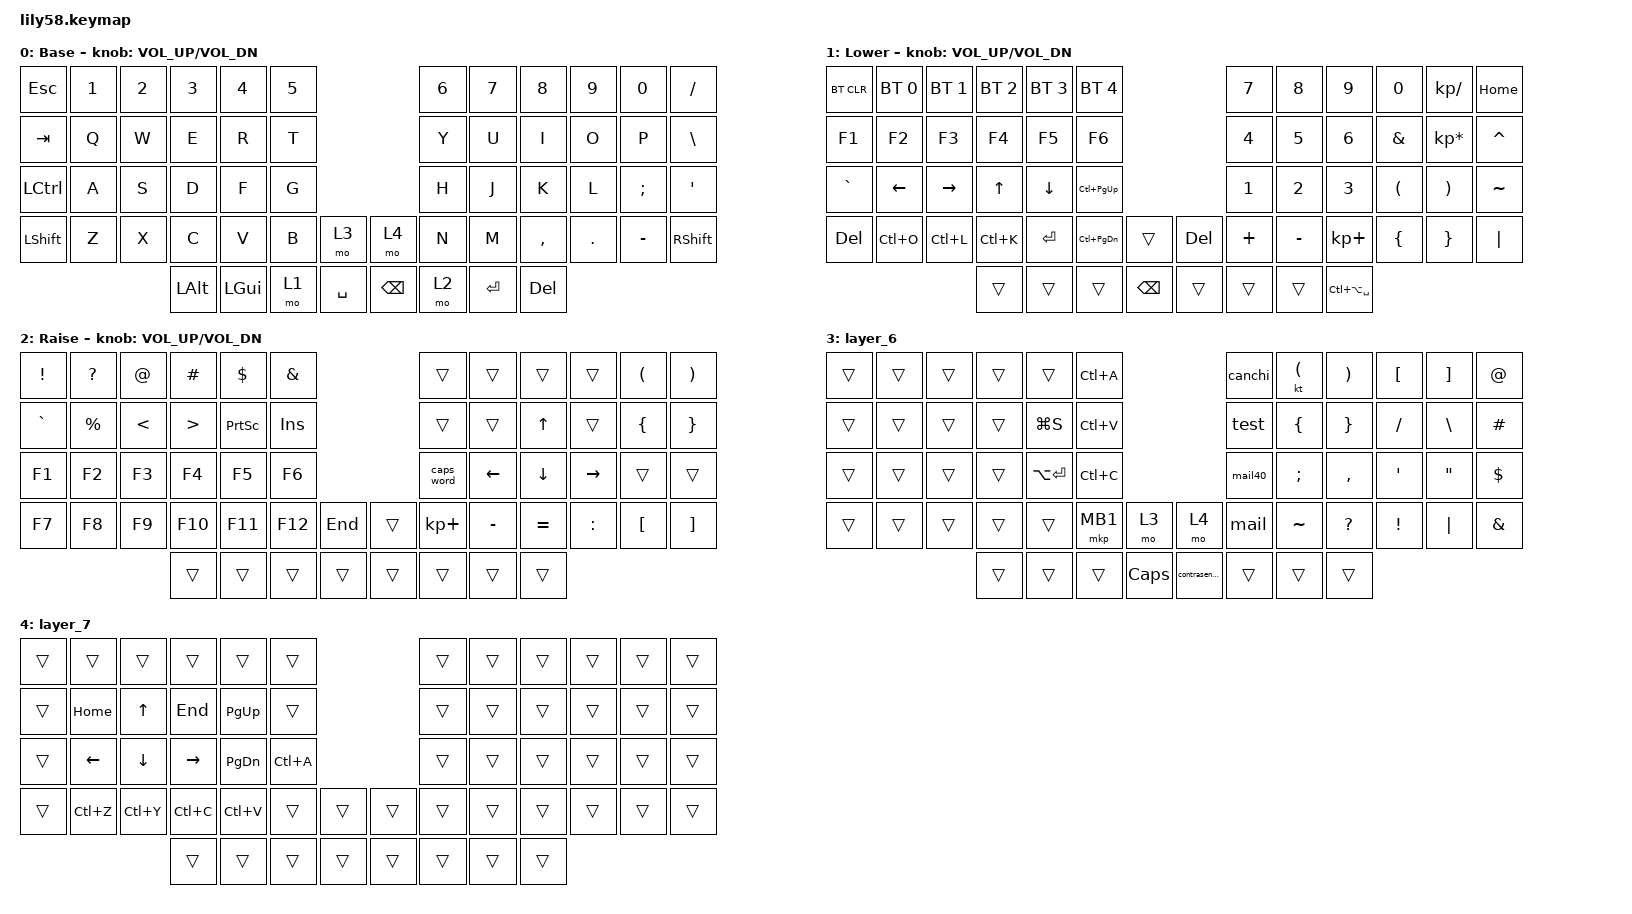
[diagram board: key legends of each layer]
/*
 * Copyright (c) 2020 The ZMK Contributors
 *
 * SPDX-License-Identifier: MIT
 */

#include <behaviors.dtsi>
#include <dt-bindings/zmk/bt.h>
#include <dt-bindings/zmk/keys.h>
#include <dt-bindings/zmk/pointing.h>

/ {
    macros {
        mail: mail {
            compatible = "zmk,behavior-macro";
            #binding-cells = <0>;
            bindings = <&kp T &kp A &kp N &kp O &kp M &kp A &kp N &kp F &kp E &kp R &kp AT &kp G &kp M &kp A &kp I &kp L &kp DOT &kp C &kp O &kp M>;
            label = "MAIL";
        };

        user: user {
            compatible = "zmk,behavior-macro";
            #binding-cells = <0>;
            bindings = <&none>;
            label = "USER";
        };

        ip_local: ip_local {
            compatible = "zmk,behavior-macro";
            #binding-cells = <0>;
            bindings = <&kp N1 &kp N9 &kp N2 &kp DOT &kp N1 &kp N6 &kp N8>;
            label = "IP_LOCAL";
        };

        npmdev: npmdev {
            compatible = "zmk,behavior-macro";
            #binding-cells = <0>;
            bindings = <&kp N &kp P &kp M &kp SPACE &kp R &kp U &kp N &kp SPACE &kp D &kp E &kp V>;
            label = "NPMDEV";
        };

        update: update {
            compatible = "zmk,behavior-macro";
            #binding-cells = <0>;
            bindings = <&kp S &kp U &kp D &kp O &kp SPACE &kp P &kp A &kp C &kp M &kp A &kp N &kp SPACE &kp MINUS &kp LS(S) &kp Y &kp U>;
            label = "UPDATE";
        };

        mail40: mail40 {
            compatible = "zmk,behavior-macro";
            #binding-cells = <0>;
            bindings = <&none &kp T &kp A &kp N &kp O &kp M &kp A &kp N &kp F &kp E &kp R &kp N4 &kp N0 &kp AT &kp G &kp M &kp A &kp I &kp L &kp DOT &kp C &kp O &kp M &kp SPACE>;
            label = "MAIL40";
        };

        canchi: canchi {
            compatible = "zmk,behavior-macro";
            #binding-cells = <0>;
            bindings = <&none &kp LS(C) &kp LS(A) &kp LS(N) &kp C &kp H &kp I &kp C &kp H &kp A &kp N3 &kp N3>;
            label = "CANCHI";
        };

        test: test {
            compatible = "zmk,behavior-macro";
            #binding-cells = <0>;
            bindings = <&none &kp T &kp E &kp S &kp T &kp AT &kp A &kp P &kp P &kp A &kp F &kp E &kp R &kp DOT &kp C &kp O &kp M>;
            label = "TEST";
        };

        contrasenatest: contrasenatest {
            compatible = "zmk,behavior-macro";
            #binding-cells = <0>;
            bindings = <&none &kp T &kp E &kp S &kp T &kp N1 &kp N2 &kp N3 &kp N4 &kp AT>;
            label = "CONTRASENATEST";
        };
    };

    combos {
        compatible = "zmk,combos";

        mayuscula {
            bindings = <&caps_word>;
            key-positions = <36 49>;
        };
    };

    keymap {
        compatible = "zmk,keymap";

        default_layer {
            // ------------------------------------------------------------------------------------------------------------
            // |  ESC  |  1  |  2  |  3   |  4   |  5   |                   |  6   |  7    |  8    |  9   |   0   |   `   |
            // |  TAB  |  Q  |  W  |  E   |  R   |  T   |                   |  Y   |  U    |  I    |  O   |   P   |   -   |
            // |  CTRL |  A  |  S  |  D   |  F   |  G   |                   |  H   |  J    |  K    |  L   |   ;   |   '   |
            // | SHIFT |  Z  |  X  |  C   |  V   |  B   |   "["  |  |  "]"  |  N   |  M    |  ,    |  .   |   /   | SHIFT |
            //                     | ALT  | GUI  | LOWER|  SPACE |  | ENTER | RAISE| BSPC  | GUI   |

            display-name = "Base";
            bindings = <
&kp ESC    &kp NUMBER_1  &kp N2  &kp N3    &kp N4    &kp N5                         &kp N6  &kp N7     &kp N8     &kp N9   &kp N0     &kp SLASH
&kp TAB    &kp Q         &kp W   &kp E     &kp R     &kp T                          &kp Y   &kp U      &kp I      &kp O    &kp P      &kp BACKSLASH
&kp LCTRL  &kp A         &kp S   &kp D     &kp F     &kp G                          &kp H   &kp J      &kp K      &kp L    &kp SEMI   &kp SQT
&kp LSHFT  &kp Z         &kp X   &kp C     &kp V     &kp B   &mo 3        &mo 4     &kp N   &kp M      &kp COMMA  &kp DOT  &kp MINUS  &kp RSHFT
                                 &kp LALT  &kp LGUI  &mo 1   &kp SPACE    &kp BSPC  &mo 2   &kp ENTER  &kp DEL
            >;

            sensor-bindings = <&inc_dec_kp C_VOL_UP C_VOL_DN>;
        };

        lower_layer {
            // ------------------------------------------------------------------------------------------------------------
            // | BTCLR | BT1 | BT2 |  BT3 |  BT4 |  BT5 |                   |      |       |       |      |       |       |
            // |  F1   |  F2 |  F3 |  F4  |  F5  |  F6  |                   |  F7  |  F8   |  F9   |  F10 |  F11  |  F12  |
            // |   `   |  !  |  @  |  #   |  $   |  %   |                   |  ^   |  &    |  *    |  (   |   )   |   ~   |
            // |       |     |     |      |      |      |        |  |       |      |  _    |  +    |  {   |   }   |  "|"  |
            //                     |      |      |      |        |  |       |      |       |       |

            display-name = "Lower";
            bindings = <
&bt BT_CLR  &bt BT_SEL 0  &bt BT_SEL 1     &bt BT_SEL 2  &bt BT_SEL 3  &bt BT_SEL 4                               &kp N7    &kp N8     &kp N9             &kp N0         &kp KP_DIVIDE    &kp HOME
&kp F1      &kp F2        &kp F3           &kp F4        &kp F5        &kp F6                                     &kp N4    &kp N5     &kp N6             &kp AMPERSAND  &kp KP_MULTIPLY  &kp CARET
&kp GRAVE   &kp LEFT      &kp RIGHT_ARROW  &kp UP_ARROW  &kp DOWN      &kp LC(PG_UP)                              &kp N1    &kp N2     &kp N3             &kp LPAR       &kp RPAR         &kp TILDE
&kp DEL     &kp LC(O)     &kp LC(L)        &kp LC(K)     &kp ENTER     &kp LC(PAGE_DOWN)  &trans      &kp DELETE  &kp PLUS  &kp MINUS  &kp KP_PLUS        &kp LBRC       &kp RBRC         &kp PIPE
                                           &trans        &trans        &trans             &kp BSPC    &trans      &trans    &trans     &kp LC(LA(SPACE))
            >;

            sensor-bindings = <&inc_dec_kp C_VOL_UP C_VOL_DN>;
        };

        raise_layer {
            // ------------------------------------------------------------------------------------------------------------
            // |       |     |     |      |      |      |                   |      |       |       |      |       |       |
            // |   `   |  1  |  2  |  3   |  4   |  5   |                   |  6   |   7   |   8   |  9   |   0   |       |
            // |   F1  |  F2 |  F3 |  F4  |  F5  |  F6  |                   |      |   <-  |   v   |  ^   |  ->   |       |
            // |   F7  |  F8 |  F9 |  F10 |  F11 |  F12 |        |  |       |  +   |   -   |   =   |  [   |   ]   |   \   |
            //                     |      |      |      |        |  |       |      |       |       |

            display-name = "Raise";
            bindings = <
&kp EXCL   &kp QMARK    &kp AT_SIGN  &kp HASH  &kp DLLR         &kp AMPS                     &trans       &trans     &trans        &trans           &kp LEFT_PARENTHESIS  &kp RIGHT_PARENTHESIS
&kp GRAVE  &kp PERCENT  &kp LT       &kp GT    &kp PRINTSCREEN  &kp INS                      &trans       &trans     &kp UP_ARROW  &trans           &kp LEFT_BRACE        &kp RBRC
&kp F1     &kp F2       &kp F3       &kp F4    &kp F5           &kp F6                       &caps_word   &kp LEFT   &kp DOWN      &kp RIGHT_ARROW  &trans                &trans
&kp F7     &kp F8       &kp F9       &kp F10   &kp F11          &kp F12   &kp END    &trans  &kp KP_PLUS  &kp MINUS  &kp EQUAL     &kp COLON        &kp LEFT_BRACKET      &kp RIGHT_BRACKET
                                     &trans    &trans           &trans    &trans     &trans  &trans       &trans     &trans
            >;

            sensor-bindings = <&inc_dec_kp C_VOL_UP C_VOL_DN>;
        };

        layer_6 {
            bindings = <
&trans  &trans  &trans  &trans  &trans          &kp LC(A)                               &canchi  &kt LPAR        &kp RIGHT_PARENTHESIS  &kp LEFT_BRACKET  &kp RIGHT_BRACKET  &kp AT
&trans  &trans  &trans  &trans  &kp LG(S)       &kp LC(V)                               &test    &kp LEFT_BRACE  &kp RIGHT_BRACE        &kp SLASH         &kp BSLH           &kp HASH
&trans  &trans  &trans  &trans  &kp LA(RETURN)  &kp LC(C)                               &mail40  &kp SEMICOLON   &kp COMMA              &kp SINGLE_QUOTE  &kp DOUBLE_QUOTES  &kp DOLLAR
&trans  &trans  &trans  &trans  &trans          &mkp MB1   &mo 3       &mo 4            &mail    &kp TILDE       &kp QUESTION           &kp EXCLAMATION   &kp PIPE           &kp AMPERSAND
                        &trans  &trans          &trans     &kp CAPS    &contrasenatest  &trans   &trans          &trans
            >;
        };

        layer_7 {
            bindings = <
&trans  &trans     &trans        &trans     &trans         &trans                       &trans  &trans  &trans  &trans  &trans  &trans
&trans  &kp HOME   &kp UP_ARROW  &kp END    &kp PAGE_UP    &trans                       &trans  &trans  &trans  &trans  &trans  &trans
&trans  &kp LEFT   &kp DOWN      &kp RIGHT  &kp PAGE_DOWN  &kp LC(A)                    &trans  &trans  &trans  &trans  &trans  &trans
&trans  &kp LC(Z)  &kp LC(Y)     &kp LC(C)  &kp LC(V)      &trans     &trans    &trans  &trans  &trans  &trans  &trans  &trans  &trans
                                 &trans     &trans         &trans     &trans    &trans  &trans  &trans  &trans
            >;
        };

        extra_1 {
            status = "reserved";
            sensor-bindings = <&inc_dec_kp 0 0>;
        };

        extra_2 { status = "reserved"; };

        extra_3 { status = "reserved"; };
    };
};
